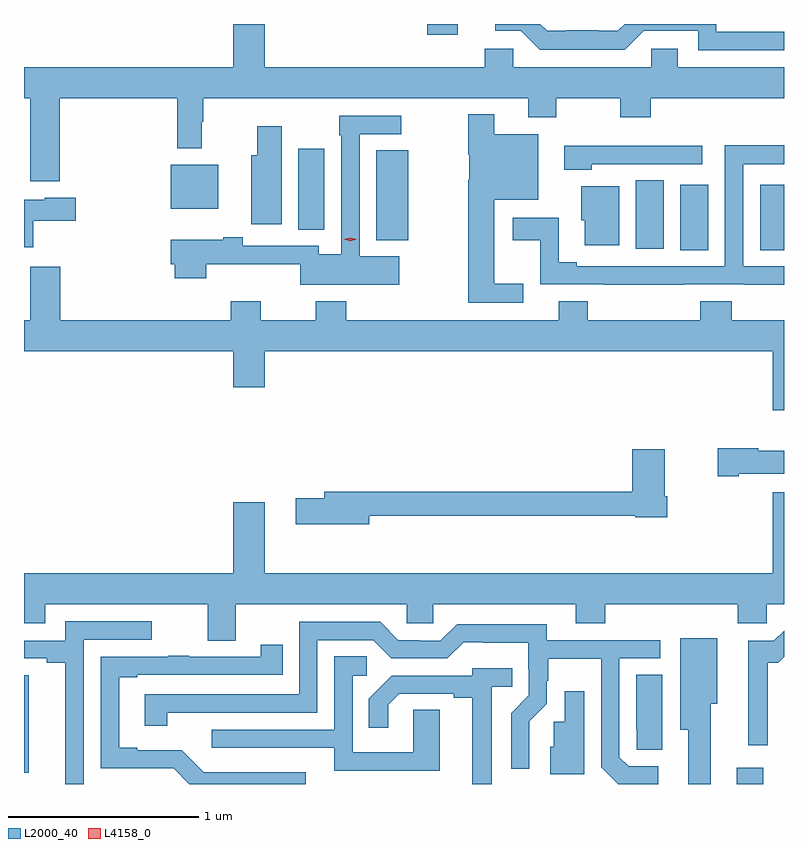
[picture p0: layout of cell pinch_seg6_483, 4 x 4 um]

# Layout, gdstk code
import gdstk
lib = gdstk.Library(unit=1e-6, precision=1e-09)
def R(c, l, rs):  # rectangles x0, y0, x1, y1
    for r in rs: c.add(gdstk.rectangle(r[:2], r[2:], *l))
def P(c, l, *ps):  # polygons
    for p in ps: c.add(gdstk.Polygon(p, *l))
L2000_40 = (2000, 40)
L4158_0 = (4158, 0)

pinch_seg6_483 = lib.new_cell('pinch_seg6_483')
R(pinch_seg6_483, L2000_40, [(886.937,945.059,887.077,945.145), (883.186,945.117,883.21,945.631), (886.64,947.869,886.786,948.214), (887.06,947.869,887.186,948.214), (886.406,947.877,886.552,948.236), (885.041,947.921,885.208,948.395), (884.63,947.977,884.767,948.403), (883.958,948.086,884.209,948.319), (885.308,949.002,885.469,949.059)])
P(pinch_seg6_483, L2000_40, [(887.186,949.017),(886.83,949.017),(886.83,949.059),(886.348,949.059),(886.312,949.023),(886.211,949.023),(886.211,949.027),(886.039,949.027),(886.039,949.023),(885.939,949.023),(885.903,949.059),(885.665,949.059),(885.665,949.023),(885.801,949.023),(885.901,948.923),(886.349,948.923),(886.449,949.023),(886.734,949.023),(886.734,948.921),(887.186,948.921)],
  [(883.373,948.668),(883.993,948.668),(883.993,948.405),(884.122,948.405),(884.122,948.545),(884.129,948.545),(884.129,948.668),(885.839,948.668),(885.839,948.569),(885.987,948.569),(885.987,948.668),(886.324,948.668),(886.324,948.569),(886.484,948.569),(886.484,948.668),(887.186,948.668),(887.186,948.832),(886.627,948.832),(886.627,948.93),(886.488,948.93),(886.488,948.832),(885.762,948.832),(885.762,948.93),(885.611,948.93),(885.611,948.832),(884.452,948.832),(884.452,949.059),(884.288,949.059),(884.288,948.832),(883.186,948.832),(883.186,948.668),(883.22,948.668),(883.22,948.231),(883.373,948.231)],
  [(885.814,947.691),(885.661,947.691),(885.661,948.134),(885.892,948.134),(885.892,948.478),(885.661,948.478),(885.661,948.583),(885.523,948.583),(885.523,948.37),(885.53,948.37),(885.53,948.238),(885.523,948.238),(885.523,947.592),(885.814,947.592)],
  [(885.16,947.836),(884.952,947.836),(884.952,948.48),(885.172,948.48),(885.172,948.576),(884.844,948.576),(884.844,948.473),(884.856,948.473),(884.856,947.848),(884.736,947.848),(884.736,947.892),(884.338,947.892),(884.338,947.936),(884.234,947.936),(884.234,947.923),(883.958,947.923),(883.958,947.794),(883.979,947.794),(883.979,947.72),(884.144,947.72),(884.144,947.795),(884.64,947.795),(884.64,947.687),(885.16,947.687)],
  [(884.542,948.52),(884.413,948.52),(884.413,948.367),(884.381,948.367),(884.381,948.006),(884.542,948.006)],
  [(886.661,947.688),(886.978,947.688),(886.978,947.687),(887.186,947.687),(887.186,947.784),(886.971,947.784),(886.971,948.321),(887.186,948.321),(887.186,948.42),(886.875,948.42),(886.875,947.784),(886.096,947.784),(886.096,947.804),(886,947.804),(886,948.04),(885.759,948.04),(885.759,947.921),(885.903,947.921),(885.903,947.688),(886.237,947.688),(886.237,947.687),(886.661,947.687)],
  [(886.173,948.321),(886.756,948.321),(886.756,948.418),(886.029,948.418),(886.029,948.293),(886.173,948.293)],
  [(886.318,948.205),(886.118,948.205),(886.118,948.027),(886.136,948.027),(886.136,947.894),(886.318,947.894)],
  [(883.234,948.023),(883.459,948.023),(883.459,948.145),(883.296,948.145),(883.296,948.133),(883.186,948.133),(883.186,947.885),(883.234,947.885)],
  [(887.186,947.5),(886.91,947.5),(886.91,947.599),(886.745,947.599),(886.745,947.5),(886.154,947.5),(886.154,947.599),(886.001,947.599),(886.001,947.5),(884.882,947.5),(884.882,947.599),(884.722,947.599),(884.722,947.5),(884.433,947.5),(884.433,947.599),(884.273,947.599),(884.273,947.5),(883.376,947.5),(883.376,947.782),(883.22,947.782),(883.22,947.5),(883.186,947.5),(883.186,947.336),(884.288,947.336),(884.288,947.148),(884.452,947.148),(884.452,947.336),(887.126,947.336),(887.126,947.027),(887.186,947.027)],
  [(886.948,946.691),(887.186,946.691),(887.186,946.813),(887.051,946.813),(887.051,946.826),(886.836,946.826),(886.836,946.679),(886.948,946.679)],
  [(885.004,946.47),(886.404,946.47),(886.404,946.462),(886.571,946.462),(886.571,946.573),(886.558,946.573),(886.558,946.822),(886.388,946.822),(886.388,946.598),(884.765,946.598),(884.765,946.562),(884.616,946.562),(884.616,946.427),(885.004,946.427)],
  [(885.201,945.906),(885.339,945.906),(885.339,946.004),(886.091,946.004),(886.091,945.905),(886.244,945.905),(886.244,946.004),(886.943,946.004),(886.943,945.906),(887.094,945.906),(887.094,946.004),(887.186,946.004),(887.186,946.594),(887.126,946.594),(887.126,946.168),(884.452,946.168),(884.452,946.543),(884.288,946.543),(884.288,946.168),(883.186,946.168),(883.186,945.906),(883.297,945.906),(883.297,946.004),(884.153,946.004),(884.153,945.814),(884.301,945.814),(884.301,946.004),(885.201,946.004)],
  [(883.5,945.819),(883.858,945.819),(883.858,945.915),(883.404,945.915),(883.404,945.813),(883.186,945.813),(883.186,945.72),(883.307,945.72),(883.307,945.698),(883.403,945.698),(883.403,945.059),(883.5,945.059)],
  [(886.525,945.153),(886.368,945.153),(886.32,945.201),(886.32,945.72),(886.534,945.72),(886.534,945.816),(885.937,945.816),(885.937,945.9),(885.465,945.9),(885.378,945.813),(885.269,945.813),(885.269,945.816),(885.156,945.816),(885.06,945.912),(884.634,945.912),(884.634,945.531),(883.821,945.531),(883.821,945.366),(883.941,945.366),(883.941,945.435),(884.73,945.435),(884.73,945.816),(885.024,945.816),(885.12,945.72),(885.414,945.72),(885.5,945.806),(885.601,945.806),(885.601,945.803),(885.84,945.803),(885.84,945.663),(885.843,945.663),(885.843,945.525),(885.75,945.432),(885.75,945.138),(885.844,945.138),(885.844,945.39),(885.936,945.482),(885.936,945.603),(885.944,945.603),(885.944,945.719),(886.224,945.719),(886.224,945.147),(886.313,945.059),(886.525,945.059)],
  [(887.101,945.698),(887.156,945.698),(887.186,945.728),(887.186,945.866),(887.133,945.813),(886.997,945.813),(886.997,945.264),(887.101,945.264)],
  [(886.801,945.482),(886.834,945.482),(886.834,945.826),(886.64,945.826),(886.64,945.344),(886.682,945.344),(886.682,945.059),(886.801,945.059)],
  [(884.668,945.12),(884.133,945.12),(884.016,945.237),(883.783,945.237),(883.783,945.25),(883.687,945.25),(883.687,945.621),(883.783,945.621),(883.783,945.633),(884.549,945.633),(884.549,945.793),(884.431,945.793),(884.431,945.729),(884.057,945.729),(884.057,945.734),(883.945,945.734),(883.945,945.729),(883.59,945.729),(883.59,945.141),(883.974,945.141),(884.057,945.059),(884.668,945.059)],
  [(885.373,945.449),(885.234,945.449),(885.234,945.225),(884.916,945.225),(884.916,945.63),(884.989,945.63),(884.989,945.731),(884.82,945.731),(884.82,945.345),(884.175,945.345),(884.175,945.249),(884.819,945.249),(884.819,945.129),(885.373,945.129)],
  [(885.649,945.57),(885.755,945.57),(885.755,945.667),(885.545,945.667),(885.545,945.63),(885.122,945.63),(885.001,945.509),(885.001,945.354),(885.102,945.354),(885.102,945.476),(885.16,945.534),(885.449,945.534),(885.449,945.514),(885.545,945.514),(885.545,945.059),(885.649,945.059)],
  [(886.546,945.635),(886.409,945.635),(886.409,945.346),(886.41,945.346),(886.41,945.238),(886.546,945.238)],
  [(886.135,945.547),(886.031,945.547),(886.031,945.387),(885.975,945.387),(885.975,945.255),(885.956,945.255),(885.956,945.11),(886.135,945.11)])
P(pinch_seg6_483, L4158_0, [(884.903,947.916),(884.868,947.926),(884.868,947.926),(884.868,947.926),(884.903,947.935),(884.938,947.925),(884.938,947.925),(884.938,947.925)])

lib.write_gds('pinch_seg6_483.gds')
